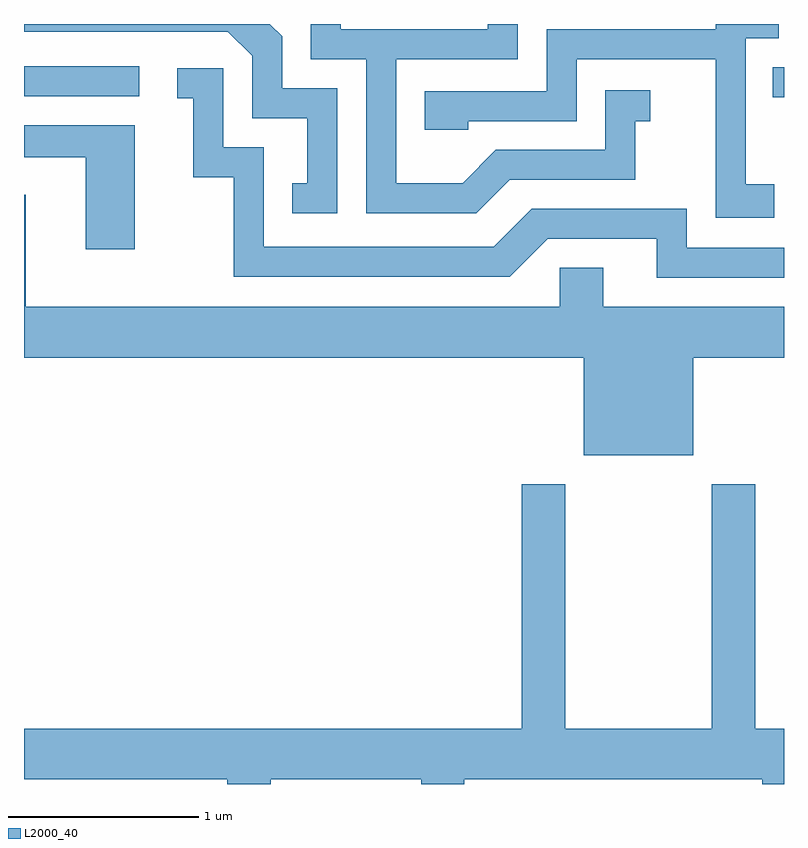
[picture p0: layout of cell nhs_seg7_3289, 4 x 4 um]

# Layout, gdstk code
import gdstk
lib = gdstk.Library(unit=1e-6, precision=1e-09)
def R(c, l, rs):  # rectangles x0, y0, x1, y1
    for r in rs: c.add(gdstk.rectangle(r[:2], r[2:], *l))
def P(c, l, *ps):  # polygons
    for p in ps: c.add(gdstk.Polygon(p, *l))
L2000_40 = (2000, 40)

nhs_seg7_3289 = lib.new_cell('nhs_seg7_3289')
R(nhs_seg7_3289, L2000_40, [(289.553,1757.866,289.611,1758.024), (285.611,1757.871,286.218,1758.029)])
P(nhs_seg7_3289, L2000_40, [(288.167,1757.431),(288.829,1757.431),(288.829,1757.741),(288.908,1757.741),(288.908,1757.904),(288.671,1757.904),(288.671,1757.589),(288.094,1757.589),(287.919,1757.414),(287.569,1757.414),(287.569,1758.066),(288.209,1758.066),(288.209,1758.252),(288.051,1758.252),(288.051,1758.224),(287.279,1758.224),(287.279,1758.252),(287.121,1758.252),(287.121,1758.066),(287.411,1758.066),(287.411,1757.256),(287.992,1757.256)],
  [(289.559,1757.409),(289.409,1757.409),(289.409,1758.176),(289.584,1758.176),(289.584,1758.252),(289.251,1758.252),(289.251,1758.224),(288.361,1758.224),(288.361,1757.899),(287.721,1757.899),(287.721,1757.696),(287.949,1757.696),(287.949,1757.741),(288.519,1757.741),(288.519,1758.066),(289.251,1758.066),(289.251,1757.231),(289.559,1757.231)],
  [(287.259,1757.914),(286.969,1757.914),(286.969,1758.187),(286.904,1758.252),(285.611,1758.252),(285.611,1758.211),(286.684,1758.211),(286.811,1758.084),(286.811,1757.756),(287.101,1757.756),(287.101,1757.414),(287.023,1757.414),(287.023,1757.256),(287.259,1757.256)],
  [(289.611,1757.074),(289.099,1757.074),(289.099,1757.279),(288.284,1757.279),(288.084,1757.079),(286.874,1757.079),(286.874,1757.604),(286.659,1757.604),(286.659,1758.019),(286.418,1758.019),(286.418,1757.861),(286.501,1757.861),(286.501,1757.446),(286.716,1757.446),(286.716,1756.921),(288.167,1756.921),(288.367,1757.121),(288.941,1757.121),(288.941,1756.916),(289.611,1756.916)],
  [(286.194,1757.719),(285.611,1757.719),(285.611,1757.551),(285.936,1757.551),(285.936,1757.066),(286.194,1757.066)],
  [(289.134,1756.496),(289.611,1756.496),(289.611,1756.764),(288.659,1756.764),(288.659,1756.969),(288.431,1756.969),(288.431,1756.764),(285.619,1756.764),(285.619,1757.354),(285.611,1757.354),(285.611,1756.496),(288.556,1756.496),(288.556,1755.981),(289.134,1755.981)],
  [(286.909,1754.276),(287.701,1754.276),(287.701,1754.252),(287.929,1754.252),(287.929,1754.276),(289.496,1754.276),(289.496,1754.252),(289.611,1754.252),(289.611,1754.544),(289.459,1754.544),(289.459,1755.829),(289.231,1755.829),(289.231,1754.544),(288.459,1754.544),(288.459,1755.829),(288.231,1755.829),(288.231,1754.544),(285.611,1754.544),(285.611,1754.276),(286.681,1754.276),(286.681,1754.252),(286.909,1754.252)])

lib.write_gds('nhs_seg7_3289.gds')
